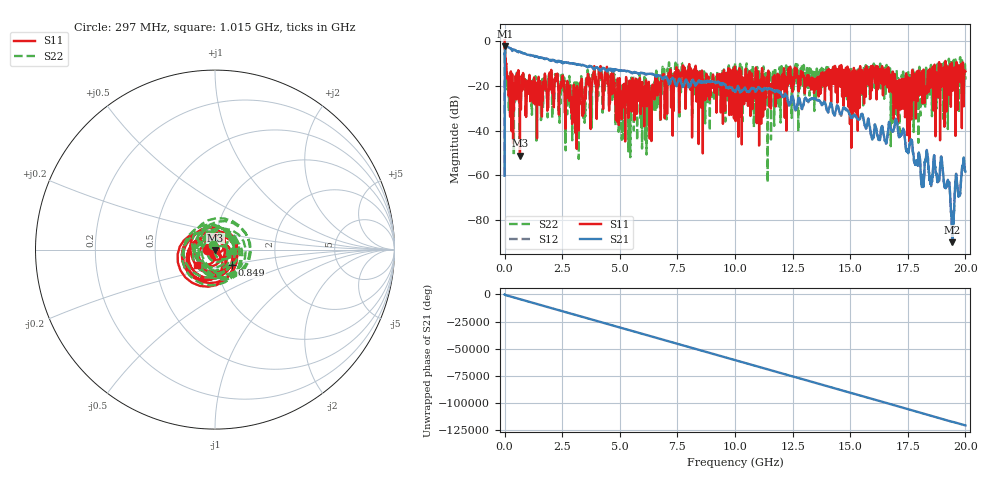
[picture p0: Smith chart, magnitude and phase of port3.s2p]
! MS46122B
! 2250307/22442219
! 2/19/2026 8:43:30 AM
! C:\USERS\SPARKY\DOCUMENTS\VNA_DATA\FEB19_2026\WARM2\PORT3.S2P
! CHANNEL.1
! TR.MEASUREMENT
! RAW.DATA
# GHZ S RI R 50.0
! FREQ.GHZ  S11RE  S11IM  S21RE  S21IM  S12RE  S12IM  S22RE  S22IM
!; PortSelection: Port_12
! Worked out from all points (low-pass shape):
!   10001 points, 1 MHz to 20 GHz, reference 50 ohm
!   highest |S21| = -2.25 dB at 33 MHz (marker M1); lowest = -90.0 dB at 19.44 GHz (marker M2)
!   |S21| within 3 dB of the highest: 19.19 MHz to 780 MHz (760.8 MHz wide, 190 % of centre); 804.8 MHz to 822.2 MHz (17.43 MHz wide, 2.14 % of centre) (the widest 2 of 3)
!   lowest |S11| = -51.3 dB at 667 MHz (marker M3), VSWR 1.01, Z = 50.2 - j0.165 ohm
!   |S11| at or under -10 dB: 73.29 MHz to 18.85 GHz (18.77 GHz wide, 198 % of centre); 19.15 GHz to 19.4 GHz (252.4 MHz wide, 1.31 % of centre); 19.62 GHz to 19.88 GHz (253 MHz wide, 1.28 % of centre) (the widest 3 of 7)
!   |S22| runs from -63.3 to -0.2 dB; largest |S21 - S12| = 0.063
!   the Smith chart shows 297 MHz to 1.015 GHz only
!   S11 on the Smith chart (normalised r, x): 297 MHz: 0.92, -0.00; 849 MHz: 1.19, -0.21; 1.015 GHz: 0.81, -0.14
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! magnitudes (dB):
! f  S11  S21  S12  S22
! 1 MHz  0.4  -60.2  -60.4  -0.2
! 33 MHz  -8.4  -2.3  -2.6  -11.6
! 105 MHz  -14.3  -2.4  -2.6  -15.0
! 297 MHz  -27.4  -3.4  -3.4  -30.7
! 667 MHz  -51.3  -4.7  -4.7  -25.5
! 849 MHz  -17.8  -5.4  -5.4  -19.6
! 1.015 GHz  -17.6  -6.1  -6.0  -19.8
! 3.335 GHz  -19.0  -10.6  -10.7  -16.3
! 4.141 GHz  -14.1  -12.7  -12.8  -15.0
! 5.179 GHz  -20.8  -13.1  -13.2  -33.3
! 6.669 GHz  -19.4  -15.3  -15.3  -24.7
! 7.457 GHz  -11.8  -19.9  -19.9  -13.2
! 10 GHz  -11.8  -22.6  -22.7  -10.3
! 13.33 GHz  -16.2  -25.9  -25.7  -13.9
! 16.67 GHz  -12.7  -37.3  -37.4  -13.2
! 17.29 GHz  -30.2  -39.5  -39.5  -14.8
! 18.13 GHz  -25.3  -59.9  -60.2  -17.6
! 18.31 GHz  -20.7  -49.2  -49.6  -14.2
! 18.49 GHz  -19.6  -63.1  -63.5  -11.3
! 18.97 GHz  -16.8  -52.6  -52.8  -12.5
! 19.44 GHz  -14.5  -90.0  -90.2  -16.8
! 20 GHz  -13.4  -58.4  -58.9  -17.1
